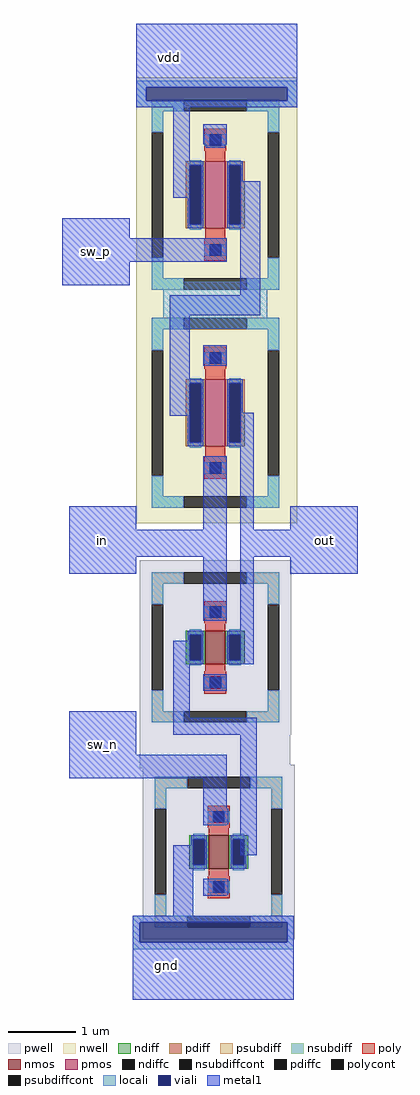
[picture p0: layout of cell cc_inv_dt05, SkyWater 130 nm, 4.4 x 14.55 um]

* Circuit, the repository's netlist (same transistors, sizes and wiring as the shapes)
* NGSPICE file created from cc_inv_dt05.ext - technology: sky130A

.subckt sky130_fd_pr__nfet_01v8_SALLWN a_30_n50# a_n33_n138# a_n190_n224# a_n88_n50#
X0 a_30_n50# a_n33_n138# a_n88_n50# a_n190_n224# sky130_fd_pr__nfet_01v8 ad=0.145 pd=1.58 as=0.145 ps=1.58 w=0.5 l=0.3
.ends

.subckt sky130_fd_pr__pfet_01v8_6QYSWZ a_n88_n100# w_n226_n319# a_30_n100# a_n33_n197#
X0 a_30_n100# a_n33_n197# a_n88_n100# w_n226_n319# sky130_fd_pr__pfet_01v8 ad=0.29 pd=2.58 as=0.29 ps=2.58 w=1 l=0.3
.ends

.subckt cc_inv_dt05 vdd out in sw_p sw_n gnd
XXM1 out in gnd m1_1310_n1600# sky130_fd_pr__nfet_01v8_SALLWN
XXM2 m1_1300_n650# vdd out in sky130_fd_pr__pfet_01v8_6QYSWZ
XXM3 vdd vdd m1_1300_n650# sw_p sky130_fd_pr__pfet_01v8_6QYSWZ
XXM4 m1_1310_n1600# sw_n gnd gnd sky130_fd_pr__nfet_01v8_SALLWN
.ends

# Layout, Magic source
magic
tech sky130A
magscale 1 2
<< nwell >>
rect 1200 -970 1680 360
<< pwell >>
rect 1210 -1700 1660 -1550
<< locali >>
rect 1200 330 1680 350
rect 1200 290 1230 330
rect 1650 290 1680 330
rect 1200 270 1680 290
rect 1280 -390 1590 -250
rect 1190 -2160 1670 -2140
rect 1190 -2220 1210 -2160
rect 1650 -2220 1670 -2160
rect 1190 -2240 1670 -2220
<< viali >>
rect 1230 290 1650 330
rect 1210 -2220 1650 -2160
<< metal1 >>
rect 1200 330 1680 520
rect 1200 290 1230 330
rect 1650 290 1680 330
rect 1200 270 1680 290
rect 1310 0 1360 270
rect 1400 160 1470 220
rect 980 -120 1180 -60
rect 980 -190 1470 -120
rect 980 -260 1180 -190
rect 1510 -290 1570 50
rect 1300 -350 1570 -290
rect 1300 -650 1360 -350
rect 1400 -500 1470 -440
rect 1000 -990 1200 -920
rect 1400 -990 1470 -770
rect 1000 -1070 1470 -990
rect 1000 -1120 1200 -1070
rect 1400 -1260 1470 -1070
rect 1510 -990 1550 -640
rect 1660 -990 1860 -920
rect 1510 -1070 1860 -990
rect 1000 -1660 1200 -1530
rect 1310 -1550 1360 -1320
rect 1510 -1390 1550 -1070
rect 1660 -1120 1860 -1070
rect 1400 -1470 1470 -1420
rect 1310 -1600 1560 -1550
rect 1000 -1730 1470 -1660
rect 1400 -1870 1470 -1730
rect 1310 -2140 1370 -1930
rect 1510 -1960 1560 -1600
rect 1400 -2080 1470 -2030
rect 1190 -2160 1670 -2140
rect 1190 -2220 1210 -2160
rect 1650 -2220 1670 -2160
rect 1190 -2390 1670 -2220
use sky130_fd_pr__nfet_01v8_SALLWN  XM1
transform 1 0 1436 0 1 -1340
box -226 -260 226 260
use sky130_fd_pr__pfet_01v8_6QYSWZ  XM2
transform 1 0 1436 0 1 -641
box -226 -319 226 319
use sky130_fd_pr__pfet_01v8_6QYSWZ  XM3
transform 1 0 1436 0 1 9
box -226 -319 226 319
use sky130_fd_pr__nfet_01v8_SALLWN  XM4
transform 1 0 1446 0 1 -1950
box -226 -260 226 260
<< labels >>
flabel metal1 1200 320 1400 520 0 FreeSans 256 0 0 0 vdd
port 0 nsew
flabel metal1 1190 -2390 1390 -2190 0 FreeSans 256 0 0 0 gnd
port 5 nsew
flabel metal1 980 -260 1180 -60 0 FreeSans 256 0 0 0 sw_p
port 3 nsew
flabel metal1 1000 -1120 1200 -920 0 FreeSans 256 0 0 0 in
port 2 nsew
flabel metal1 1660 -1120 1860 -920 0 FreeSans 256 0 0 0 out
port 1 nsew
flabel metal1 1000 -1730 1200 -1530 0 FreeSans 256 0 0 0 sw_n
port 4 nsew
<< end >>

# cell sky130_fd_pr__nfet_01v8_SALLWN: kit device sky130_fd_pr__nfet_01v8, w 0.5 l 0.3 m 1 nf 1 diffcov 100 polycov 100 guard 1 glc 1 grc 1 gtc 1 gbc 1 tbcov 100 rlcov 100 topc 1 botc 1 poverlap 0 doverlap 1 lmin 0.15 wmin 0.42 compatible {sky130_fd_pr__nfet_01v8 sky130_fd_pr__nfet_01v8_lvt sky130_fd_bs_flash__special_sonosfet_star sky130_fd_pr__nfet_g5v0d10v5 sky130_fd_pr__nfet_05v0_nvt sky130_fd_pr__nfet_03v3_nvt} full_metal 1 viasrc 100 viadrn 100 viagate 100 viagb 0 viagr 0 viagl 0 viagt 0

# cell sky130_fd_pr__pfet_01v8_6QYSWZ: kit device sky130_fd_pr__pfet_01v8, w 1.0 l 0.3 m 1 nf 1 diffcov 100 polycov 100 guard 1 glc 1 grc 1 gtc 1 gbc 1 tbcov 100 rlcov 100 topc 1 botc 1 poverlap 0 doverlap 1 lmin 0.15 wmin 0.42 compatible {sky130_fd_pr__pfet_01v8 sky130_fd_pr__pfet_01v8_lvt sky130_fd_pr__pfet_01v8_hvt sky130_fd_pr__pfet_g5v0d10v5} full_metal 1 viasrc 100 viadrn 100 viagate 100 viagb 0 viagr 0 viagl 0 viagt 0
